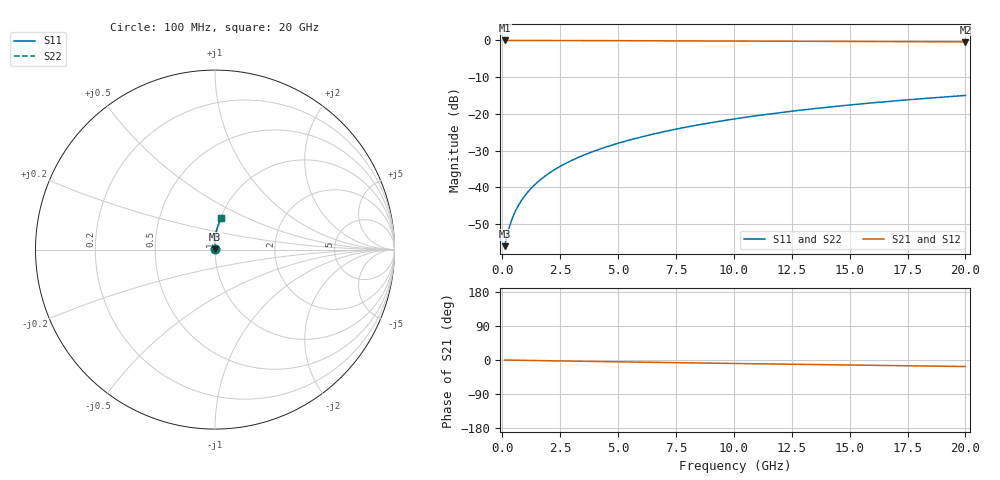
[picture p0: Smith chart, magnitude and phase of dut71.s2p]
! Touchstone file exported from HFSS 2024.1.0
!  File:  C:/UserFiles/LocalFiles/RDL_TSV_Batchsim/temp_RDL_top_71_1778682113.aedt
!  Generated:  10:23:56 PM May 13, 2026
!  Design:  RDL_top
!  Project:  temp_RDL_top_71_1778682113
!  Setup:  Setup1
!  Solution:  Sweep
! Variables:
!  dtsv = 10.80580581um
!  hbump = 3um
!  htsv = 71.48um
!  ldown = 100um
!  lrdl = 223.43um
!  p = 40
!  p1 = 46.05um
!  rhole = 1um
!  t = 450um
!  tdown = 3.915915916um
!  trdl = 3.21um
!  wdown = 15.38538539um
!  wrdl = 22.61um
# GHz S MA R 50.000000
! Terminal data exported
! Port[1] = Box2_T1
! Port[2] = Box2_T2
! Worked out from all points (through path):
!   200 points, 100 MHz to 20 GHz, reference 50 ohm
!   highest |S21| = -0.01 dB at 100 MHz (marker M1); lowest = -0.4 dB at 20 GHz (marker M2)
!   group delay of S21, straight-line fit = 2.36 ps
!   lowest |S11| = -56.0 dB at 100 MHz (marker M3), VSWR 1.00, Z = 50.1 + j0.0853 ohm
!   |S11| at or under -10 dB: start of sweep to end of sweep
!   |S22| runs from -56.0 to -15.0 dB; largest |S21 - S12| = 3.3e-15
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0.1  0.001584 32.5  0.9987 -0.1  0.9987 -0.1  0.001584 32.5
! Gamma 0 0 0 0
! Port Impedance 50 0 50 0
0.2  0.002176 50.3  0.9986 -0.2  0.9986 -0.2  0.002176 50.3
0.3  0.002858 59.5  0.9985 -0.3  0.9985 -0.3  0.002858 59.5
0.4  0.00356 65.1  0.9984 -0.4  0.9984 -0.4  0.00356 65.1
0.5  0.004269 68.9  0.9984 -0.5  0.9984 -0.5  0.004269 68.9
0.6  0.004982 71.7  0.9983 -0.6  0.9983 -0.6  0.004982 71.7
0.8  0.006424 75.7  0.9982 -0.8  0.9982 -0.8  0.006424 75.7
1.1  0.008625 79.5  0.9979 -1.1  0.9979 -1.1  0.008625 79.5
1.3  0.01011 81.2  0.9978 -1.3  0.9978 -1.3  0.01011 81.2
1.6  0.01237 83.0  0.9975 -1.6  0.9975 -1.6  0.01237 83.1
2.1  0.0162 85.1  0.997 -2.1  0.997 -2.1  0.0162 85.1
2.7  0.02089 86.7  0.9962 -2.7  0.9962 -2.7  0.02089 86.7
3.5  0.0273 87.9  0.9948 -3.4  0.9948 -3.4  0.0273 87.9
4.2  0.03307 88.6  0.9935 -4.1  0.9935 -4.1  0.03307 88.6
5  0.03983 89.0  0.9918 -4.8  0.9918 -4.8  0.03983 89.0
5.9  0.04765 89.1  0.9897 -5.6  0.9897 -5.6  0.04764 89.1
6.8  0.05565 89.0  0.9876 -6.4  0.9876 -6.4  0.05565 89.0
8.4  0.07025 88.3  0.9836 -7.8  0.9836 -7.8  0.07025 88.3
10.1  0.08608 87.2  0.9794 -9.3  0.9794 -9.3  0.08608 87.2
13.4  0.1172 84.4  0.9714 -12.0  0.9714 -12.0  0.1172 84.4
16.7  0.148 81.4  0.9636 -14.6  0.9636 -14.6  0.148 81.4
20  0.1781 78.3  0.9558 -17.2  0.9558 -17.2  0.1781 78.3
